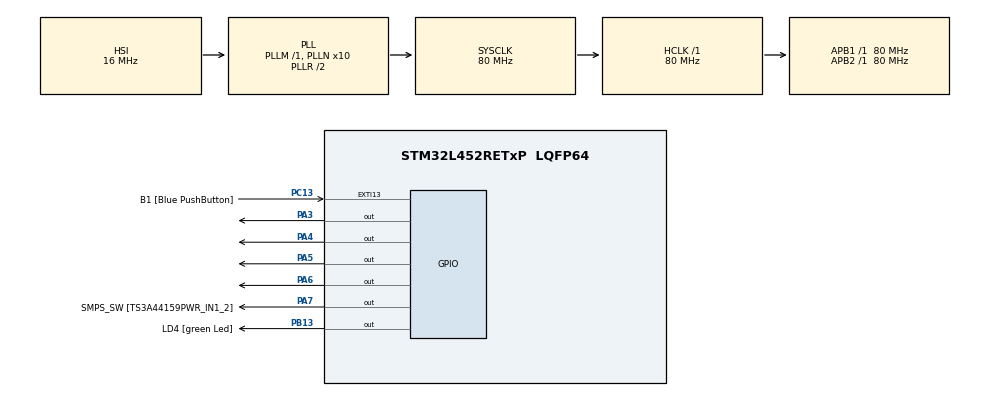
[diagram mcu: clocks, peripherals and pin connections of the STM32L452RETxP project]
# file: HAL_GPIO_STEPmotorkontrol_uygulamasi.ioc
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Mcu.Family=STM32L4
Mcu.Name=STM32L452RETxP
Mcu.Package=LQFP64
NVIC.PriorityGroup=NVIC_PRIORITYGROUP_4
PA13\ (JTMS/SWDIO).GPIO_Label=TMS
PA13\ (JTMS/SWDIO).Mode=Serial_Wire
PA13\ (JTMS/SWDIO).Signal=SYS_JTMS-SWDIO
PA14\ (JTCK/SWCLK).GPIO_Label=TCK
PA14\ (JTCK/SWCLK).Mode=Serial_Wire
PA14\ (JTCK/SWCLK).Signal=SYS_JTCK-SWCLK
PA2.GPIO_Label=USART_TX
PA2.GPIO_Mode=GPIO_MODE_AF_PP
PA2.GPIO_PuPd=GPIO_NOPULL
PA2.GPIO_Speed=GPIO_SPEED_FREQ_VERY_HIGH
PA2.Signal=USART2_TX
PA3.Signal=GPIO_Output
PA4.Signal=GPIO_Output
PA5.Signal=GPIO_Output
PA6.Signal=GPIO_Output
PA7.GPIO_Label=SMPS_SW [TS3A44159PWR_IN1_2]
PA7.Signal=GPIO_Output
PB13.GPIO_Label=LD4 [green Led]
PB13.Signal=GPIO_Output
PB3\ (JTDO/TRACESWO).GPIO_Label=SWO
PB3\ (JTDO/TRACESWO).Signal=SYS_JTDO-SWO
PC13.GPIO_Label=B1 [Blue PushButton]
PC13.GPIO_ModeDefaultEXTI=GPIO_MODE_IT_FALLING
PC13.GPIO_PuPd=GPIO_NOPULL
PC13.Signal=GPXTI13
PC14-OSC32_IN\ (PC14).Mode=LSE-External-Oscillator
PC14-OSC32_IN\ (PC14).Signal=RCC_OSC32_IN
PC15-OSC32_OUT\ (PC15).Mode=LSE-External-Oscillator
PC15-OSC32_OUT\ (PC15).Signal=RCC_OSC32_OUT
PH0-OSC_IN\ (PH0).GPIO_Label=MCO
PH0-OSC_IN\ (PH0).Mode=HSE-External-Oscillator
PH0-OSC_IN\ (PH0).Signal=RCC_OSC_IN
PH1-OSC_OUT\ (PH1).Mode=HSE-External-Oscillator
PH1-OSC_OUT\ (PH1).Signal=RCC_OSC_OUT
ProjectManager.HeapSize=0x200
ProjectManager.StackSize=0x400
ProjectManager.TargetToolchain=STM32CubeIDE
RCC.ADCFreq_Value=64000000
RCC.AHBFreq_Value=80000000
RCC.APB1Freq_Value=80000000
RCC.APB1TimFreq_Value=80000000
RCC.APB2Freq_Value=80000000
RCC.APB2TimFreq_Value=80000000
RCC.CortexFreq_Value=80000000
RCC.HCLKFreq_Value=80000000
RCC.HSE_VALUE=8000000
RCC.HSI48_VALUE=48000000
RCC.HSI_VALUE=16000000
RCC.MSI_VALUE=4000000
RCC.PLLN=10
RCC.PLLSourceVirtual=RCC_PLLSOURCE_HSI
RCC.PREFETCH_ENABLE=1
RCC.SYSCLKFreq_VALUE=80000000
RCC.SYSCLKSource=RCC_SYSCLKSOURCE_PLLCLK
RCC.USBFreq_Value=64000000
RCC.VCOOutputFreq_Value=160000000
TIM2.Prescaler=71
VP_TIM2_VS_ClockSourceINT.Mode=Internal
board=NUCLEO-L452RE-P

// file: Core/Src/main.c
/* USER CODE BEGIN Header */
/**
  ******************************************************************************
  * @file           : main.c
  * @brief          : Main program body
  ******************************************************************************
  * @attention
  *
  * Copyright (c) 2024 STMicroelectronics.
  * All rights reserved.
  *
  * This software is licensed under terms that can be found in the LICENSE file
  * in the root directory of this software component.
  * If no LICENSE file comes with this software, it is provided AS-IS.
  *
  ******************************************************************************
  */
/* USER CODE END Header */
#include "main.h"

TIM_HandleTypeDef htim2;

void SystemClock_Config(void);
static void MX_GPIO_Init(void);
static void MX_TIM2_Init(void);

/* USER CODE BEGIN 0 */
#define IN1_PIN GPIO_PIN_6
#define IN1_PORT GPIOA
#define IN2_PIN GPIO_PIN_5
#define IN2_PORT GPIOA
#define IN3_PIN GPIO_PIN_4
#define IN3_PORT GPIOA
#define IN4_PIN GPIO_PIN_3
#define IN4_PORT GPIOA
int stepNumber;          // which step the motor is on

void motorDelay(uint32_t delay)
{
    if (delay < 60000)
    {
        __HAL_TIM_SET_COUNTER(&htim2, 0);
        while (__HAL_TIM_GET_COUNTER(&htim2) < delay);
    }
    else
    {
        HAL_Delay(delay/1000);
    }
}

void motorOn()
{
    // Find out which step the motor is on
    switch (stepNumber)
    {
      case 1:
          HAL_GPIO_WritePin(IN1_PORT, IN1_PIN, GPIO_PIN_SET);   // IN1
          HAL_GPIO_WritePin(IN2_PORT, IN2_PIN, GPIO_PIN_RESET); // IN2
          HAL_GPIO_WritePin(IN3_PORT, IN3_PIN, GPIO_PIN_RESET); // IN3
          HAL_GPIO_WritePin(IN4_PORT, IN4_PIN, GPIO_PIN_SET);   // IN4
          HAL_Delay(5);
        break;
      case 2:
          HAL_GPIO_WritePin(IN1_PORT, IN1_PIN, GPIO_PIN_SET);   // IN1
          HAL_GPIO_WritePin(IN2_PORT, IN2_PIN, GPIO_PIN_RESET); // IN2
          HAL_GPIO_WritePin(IN3_PORT, IN3_PIN, GPIO_PIN_SET);   // IN3
          HAL_GPIO_WritePin(IN4_PORT, IN4_PIN, GPIO_PIN_RESET); // IN4
          HAL_Delay(5);
        break;
      case 3:
          HAL_GPIO_WritePin(IN1_PORT, IN1_PIN, GPIO_PIN_RESET); // IN1
          HAL_GPIO_WritePin(IN2_PORT, IN2_PIN, GPIO_PIN_SET);   // IN2
          HAL_GPIO_WritePin(IN3_PORT, IN3_PIN, GPIO_PIN_SET);   // IN3
          HAL_GPIO_WritePin(IN4_PORT, IN4_PIN, GPIO_PIN_RESET); // IN4
          HAL_Delay(5);
        break;
      case 4:
          HAL_GPIO_WritePin(IN1_PORT, IN1_PIN, GPIO_PIN_RESET); // IN1
          HAL_GPIO_WritePin(IN2_PORT, IN2_PIN, GPIO_PIN_SET);   // IN2
          HAL_GPIO_WritePin(IN3_PORT, IN3_PIN, GPIO_PIN_RESET); // IN3
          HAL_GPIO_WritePin(IN4_PORT, IN4_PIN, GPIO_PIN_SET);   // IN4
          HAL_Delay(5);
        break;
      default:
        break;
    }
}
void motorOff()
{
    // Switch off the idle current to the motor
    // Otherwise L298N module will heat up
    HAL_GPIO_WritePin(IN1_PORT, IN1_PIN, GPIO_PIN_RESET); // IN1
    HAL_GPIO_WritePin(IN2_PORT, IN2_PIN, GPIO_PIN_RESET); // IN2
    HAL_GPIO_WritePin(IN3_PORT, IN3_PIN, GPIO_PIN_RESET); // IN3
    HAL_GPIO_WritePin(IN4_PORT, IN4_PIN, GPIO_PIN_RESET); // IN4
}
void stepCV (int steps, float speed) // CV - Clockwise
{
  uint32_t delay = 60*1000*1000/200/speed;
  for(int x=0; x<steps; x=x+1)
  {
    // Step to the next step
    switch (stepNumber)
    {
      case 1:
        HAL_GPIO_WritePin(IN1_PORT, IN1_PIN, GPIO_PIN_SET);   // IN1
        HAL_GPIO_WritePin(IN2_PORT, IN2_PIN, GPIO_PIN_RESET); // IN2
        HAL_GPIO_WritePin(IN3_PORT, IN3_PIN, GPIO_PIN_SET);   // IN3
        HAL_GPIO_WritePin(IN4_PORT, IN4_PIN, GPIO_PIN_RESET); // IN4
        motorDelay(delay);
        stepNumber = 2;
        break;
      case 2:
        HAL_GPIO_WritePin(IN1_PORT, IN1_PIN, GPIO_PIN_RESET); // IN1
        HAL_GPIO_WritePin(IN2_PORT, IN2_PIN, GPIO_PIN_SET);   // IN2
        HAL_GPIO_WritePin(IN3_PORT, IN3_PIN, GPIO_PIN_SET);   // IN3
        HAL_GPIO_WritePin(IN4_PORT, IN4_PIN, GPIO_PIN_RESET); // IN4
        motorDelay(delay);
        stepNumber = 3;
        break;
      case 3:

        HAL_GPIO_WritePin(IN1_PORT, IN1_PIN, GPIO_PIN_RESET); // IN1
        HAL_GPIO_WritePin(IN2_PORT, IN2_PIN, GPIO_PIN_SET);   // IN2
        HAL_GPIO_WritePin(IN3_PORT, IN3_PIN, GPIO_PIN_RESET); // IN3
        motorDelay(delay);
        stepNumber = 4;
        break;
      case 4:
        HAL_GPIO_WritePin(IN1_PORT, IN1_PIN, GPIO_PIN_SET);   // IN1
        HAL_GPIO_WritePin(IN2_PORT, IN2_PIN, GPIO_PIN_RESET); // IN2
        HAL_GPIO_WritePin(IN3_PORT, IN3_PIN, GPIO_PIN_RESET); // IN3
        HAL_GPIO_WritePin(IN4_PORT, IN4_PIN, GPIO_PIN_SET);   // IN4
        motorDelay(delay);
        stepNumber = 1;
        break;
      default:
        break;
    }
  }
}
void stepCCV (int steps, float speed) // CCV - Counter Clockwise
{
  uint32_t delay = 60*1000*1000/200/speed;
  for(int x=0; x<steps; x=x+1)
  {
    // Step to the previous step
    switch (stepNumber)
    {
      case 1:
        HAL_GPIO_WritePin(IN1_PORT, IN1_PIN, GPIO_PIN_RESET); // IN1
        HAL_GPIO_WritePin(IN2_PORT, IN2_PIN, GPIO_PIN_SET);   // IN2
        HAL_GPIO_WritePin(IN3_PORT, IN3_PIN, GPIO_PIN_RESET); // IN3
        HAL_GPIO_WritePin(IN4_PORT, IN4_PIN, GPIO_PIN_SET);   // IN4
        motorDelay(delay);
        stepNumber = 4;
        break;
      case 2:
        HAL_GPIO_WritePin(IN1_PORT, IN1_PIN, GPIO_PIN_SET);   // IN1
        HAL_GPIO_WritePin(IN2_PORT, IN2_PIN, GPIO_PIN_RESET); // IN2
        HAL_GPIO_WritePin(IN3_PORT, IN3_PIN, GPIO_PIN_RESET); // IN3
        HAL_GPIO_WritePin(IN4_PORT, IN4_PIN, GPIO_PIN_SET);   // IN4
        motorDelay(delay);
        stepNumber = 1;
        break;
      case 3:
        HAL_GPIO_WritePin(IN1_PORT, IN1_PIN, GPIO_PIN_SET);   // IN1
        HAL_GPIO_WritePin(IN2_PORT, IN2_PIN, GPIO_PIN_RESET); // IN2
        HAL_GPIO_WritePin(IN3_PORT, IN3_PIN, GPIO_PIN_SET);   // IN3
        HAL_GPIO_WritePin(IN4_PORT, IN4_PIN, GPIO_PIN_RESET); // IN4
        motorDelay(delay);
        stepNumber = 2;
        break;
      case 4:
        HAL_GPIO_WritePin(IN1_PORT, IN1_PIN, GPIO_PIN_RESET); // IN1
        HAL_GPIO_WritePin(IN2_PORT, IN2_PIN, GPIO_PIN_SET);   // IN2
        HAL_GPIO_WritePin(IN3_PORT, IN3_PIN, GPIO_PIN_SET);   // IN3
        HAL_GPIO_WritePin(IN4_PORT, IN4_PIN, GPIO_PIN_RESET); // IN4
        motorDelay(delay);
        stepNumber = 3;
        break;
      default:
        break;
    }
  }
}
/* USER CODE END 0 */

int main(void)
{

  /* MCU Configuration--------------------------------------------------------*/

  /* Reset of all peripherals, Initializes the Flash interface and the Systick. */
  HAL_Init();

  /* Configure the system clock */
  SystemClock_Config();

  /* Initialize all configured peripherals */
  MX_GPIO_Init();
  MX_TIM2_Init();
  /* USER CODE BEGIN 2 */
  HAL_TIM_Base_Start(&htim2);
  stepNumber = 1;
  /* USER CODE END 2 */

  /* Infinite loop */
  while (1)
  {
	  motorOn();
	     stepCV(200,150.0f); // Clockwise 200 steps 150 RPM
	     motorOff();
	     HAL_Delay(2000);

	     motorOn();
	     stepCCV(100,150.0f); // Counter Clockwise 100 steps 150 RPM
	     motorOff();
	     HAL_Delay(2000);

	     motorOn();
	     stepCV(7,0.5f); // Clockwise 7 steps 1/2 RPM
	     motorOff();
	     HAL_Delay(2000);

	     motorOn();
	     stepCCV(9,0.5f); // Counter Clockwise 9 steps 1/2 RPM
	     motorOff();
	     HAL_Delay(2000);

	     motorOn();
	     stepCV(1500,30.0f); // Clockwise 1500 steps 30 RPM
	     motorOff();
	     HAL_Delay(2000);
  }
}

void SystemClock_Config(void)
{
  RCC_OscInitTypeDef RCC_OscInitStruct = {0};
  RCC_ClkInitTypeDef RCC_ClkInitStruct = {0};

  /** Configure the main internal regulator output voltage
  */
  if (HAL_PWREx_ControlVoltageScaling(PWR_REGULATOR_VOLTAGE_SCALE1) != HAL_OK)
  {
    Error_Handler();
  }

  /** Initializes the RCC Oscillators according to the specified parameters
  * in the RCC_OscInitTypeDef structure.
  */
  RCC_OscInitStruct.OscillatorType = RCC_OSCILLATORTYPE_HSI;
  RCC_OscInitStruct.HSIState = RCC_HSI_ON;
  RCC_OscInitStruct.HSICalibrationValue = 64;
  RCC_OscInitStruct.PLL.PLLState = RCC_PLL_ON;
  RCC_OscInitStruct.PLL.PLLSource = RCC_PLLSOURCE_HSI;
  RCC_OscInitStruct.PLL.PLLM = 1;
  RCC_OscInitStruct.PLL.PLLN = 10;
  RCC_OscInitStruct.PLL.PLLP = RCC_PLLP_DIV7;
  RCC_OscInitStruct.PLL.PLLQ = RCC_PLLQ_DIV2;
  RCC_OscInitStruct.PLL.PLLR = RCC_PLLR_DIV2;
  if (HAL_RCC_OscConfig(&RCC_OscInitStruct) != HAL_OK)
  {
    Error_Handler();
  }

  /** Initializes the CPU, AHB and APB buses clocks
  */
  RCC_ClkInitStruct.ClockType = RCC_CLOCKTYPE_HCLK|RCC_CLOCKTYPE_SYSCLK
                              |RCC_CLOCKTYPE_PCLK1|RCC_CLOCKTYPE_PCLK2;
  RCC_ClkInitStruct.SYSCLKSource = RCC_SYSCLKSOURCE_PLLCLK;
  RCC_ClkInitStruct.AHBCLKDivider = RCC_SYSCLK_DIV1;
  RCC_ClkInitStruct.APB1CLKDivider = RCC_HCLK_DIV1;
  RCC_ClkInitStruct.APB2CLKDivider = RCC_HCLK_DIV1;

  if (HAL_RCC_ClockConfig(&RCC_ClkInitStruct, FLASH_LATENCY_4) != HAL_OK)
  {
    Error_Handler();
  }
}

static void MX_TIM2_Init(void)
{

  TIM_ClockConfigTypeDef sClockSourceConfig = {0};
  TIM_MasterConfigTypeDef sMasterConfig = {0};

  htim2.Instance = TIM2;
  htim2.Init.Prescaler = 71;
  htim2.Init.CounterMode = TIM_COUNTERMODE_UP;
  htim2.Init.Period = 4294967295;
  htim2.Init.ClockDivision = TIM_CLOCKDIVISION_DIV1;
  htim2.Init.AutoReloadPreload = TIM_AUTORELOAD_PRELOAD_DISABLE;
  if (HAL_TIM_Base_Init(&htim2) != HAL_OK)
  {
    Error_Handler();
  }
  sClockSourceConfig.ClockSource = TIM_CLOCKSOURCE_INTERNAL;
  if (HAL_TIM_ConfigClockSource(&htim2, &sClockSourceConfig) != HAL_OK)
  {
    Error_Handler();
  }
  sMasterConfig.MasterOutputTrigger = TIM_TRGO_RESET;
  sMasterConfig.MasterSlaveMode = TIM_MASTERSLAVEMODE_DISABLE;
  if (HAL_TIMEx_MasterConfigSynchronization(&htim2, &sMasterConfig) != HAL_OK)
  {
    Error_Handler();
  }

}

static void MX_GPIO_Init(void)
{
  GPIO_InitTypeDef GPIO_InitStruct = {0};

  /* GPIO Ports Clock Enable */
  __HAL_RCC_GPIOC_CLK_ENABLE();
  __HAL_RCC_GPIOH_CLK_ENABLE();
  __HAL_RCC_GPIOA_CLK_ENABLE();
  __HAL_RCC_GPIOB_CLK_ENABLE();

  /*Configure GPIO pin Output Level */
  HAL_GPIO_WritePin(GPIOA, GPIO_PIN_3|GPIO_PIN_4|GPIO_PIN_5|GPIO_PIN_6
                          |SMPS_SW_Pin, GPIO_PIN_RESET);

  /*Configure GPIO pin Output Level */
  HAL_GPIO_WritePin(LD4_GPIO_Port, LD4_Pin, GPIO_PIN_RESET);

  /*Configure GPIO pin : B1_Pin */
  GPIO_InitStruct.Pin = B1_Pin;
  GPIO_InitStruct.Mode = GPIO_MODE_IT_FALLING;
  GPIO_InitStruct.Pull = GPIO_NOPULL;
  HAL_GPIO_Init(B1_GPIO_Port, &GPIO_InitStruct);

  /*Configure GPIO pin : USART_TX_Pin */
  GPIO_InitStruct.Pin = USART_TX_Pin;
  GPIO_InitStruct.Mode = GPIO_MODE_AF_PP;
  GPIO_InitStruct.Pull = GPIO_NOPULL;
  GPIO_InitStruct.Speed = GPIO_SPEED_FREQ_VERY_HIGH;
  GPIO_InitStruct.Alternate = GPIO_AF7_USART2;
  HAL_GPIO_Init(USART_TX_GPIO_Port, &GPIO_InitStruct);

  /*Configure GPIO pins : PA3 PA4 PA5 PA6
                           SMPS_SW_Pin */
  GPIO_InitStruct.Pin = GPIO_PIN_3|GPIO_PIN_4|GPIO_PIN_5|GPIO_PIN_6
                          |SMPS_SW_Pin;
  GPIO_InitStruct.Mode = GPIO_MODE_OUTPUT_PP;
  GPIO_InitStruct.Pull = GPIO_NOPULL;
  GPIO_InitStruct.Speed = GPIO_SPEED_FREQ_LOW;
  HAL_GPIO_Init(GPIOA, &GPIO_InitStruct);

  /*Configure GPIO pin : LD4_Pin */
  GPIO_InitStruct.Pin = LD4_Pin;
  GPIO_InitStruct.Mode = GPIO_MODE_OUTPUT_PP;
  GPIO_InitStruct.Pull = GPIO_NOPULL;
  GPIO_InitStruct.Speed = GPIO_SPEED_FREQ_LOW;
  HAL_GPIO_Init(LD4_GPIO_Port, &GPIO_InitStruct);

}

void Error_Handler(void)
{
  __disable_irq();
  while (1)
  {
  }
}
